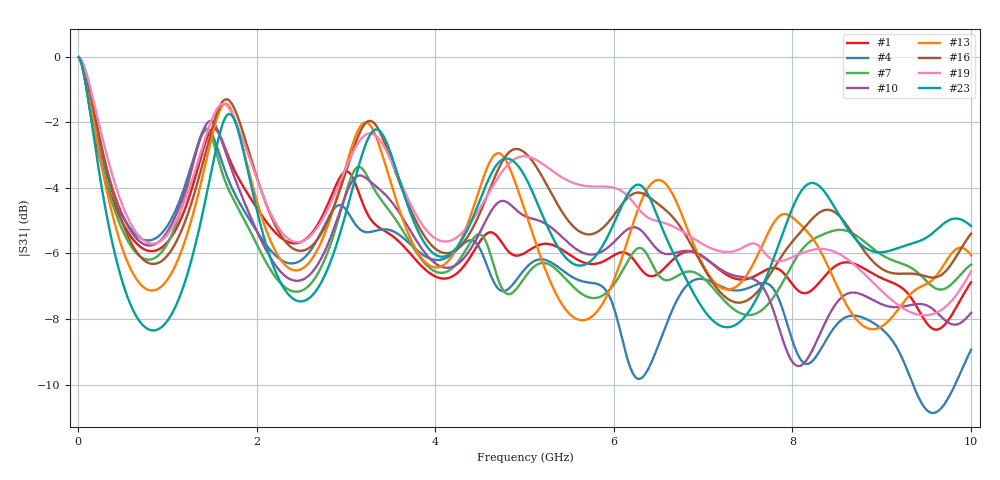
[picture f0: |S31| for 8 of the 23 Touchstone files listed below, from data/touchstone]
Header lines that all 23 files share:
! TOUCHSTONE file generated by CST MICROWAVE STUDIO
! Project name: FlexPCB_ECSS_Coverlay_Baseline.cst
! Header version: 2024
! Port assignment regex: !\s*Touchstone port\s*([0-9]+)\s*=\s*(CST MWS port|CST DES external port|CST DES block port)\s*(.+)\s* \(\"(.*)\"\)(\s*mode\s*([0-9]+))?.*
! Touchstone port assignment:
! Touchstone port 1 = CST MWS port 1 ("")
! Touchstone port 2 = CST MWS port 2 ("")
! Touchstone port 3 = CST MWS port 3 ("")
! Touchstone port 4 = CST MWS port 4 ("")
# GHz S MA R 50
Fixed: Hadh = 0.025, Hcov = 0.025, Hsub = 0.1, L = 50, Tcu = 0.035
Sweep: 10 MHz to 10 GHz
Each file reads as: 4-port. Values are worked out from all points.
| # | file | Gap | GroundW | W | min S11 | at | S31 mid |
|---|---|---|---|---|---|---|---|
| 1 | FlexPCB_ECSS_Coverlay_Baseline_5.s4p | 0.4 | 4.6 | 0.22 | -27.5 dB | 10 MHz | -6.0 dB at 5.01 GHz |
| 2 | FlexPCB_ECSS_Coverlay_Baseline_7.s4p | 0.4 | 5 | 0.26 | -26.2 dB | 10 MHz | -6.0 dB at 5.01 GHz |
| 3 | FlexPCB_ECSS_Coverlay_Baseline_8.s4p | 0.6 | 5 | 0.14 | -29.3 dB | 10 MHz | -7.4 dB at 5.01 GHz |
| 4 | FlexPCB_ECSS_Coverlay_Baseline_9.s4p | 0.6 | 5.2 | 0.16 | -28.3 dB | 10 MHz | -6.5 dB at 5.01 GHz |
| 5 | FlexPCB_ECSS_Coverlay_Baseline_10.s4p | 0.6 | 5.4 | 0.18 | -28.2 dB | 10 MHz | -6.4 dB at 5.01 GHz |
| 6 | FlexPCB_ECSS_Coverlay_Baseline_11.s4p | 0.6 | 5.6 | 0.2 | -28.4 dB | 10 MHz | -5.6 dB at 5.01 GHz |
| 7 | FlexPCB_ECSS_Coverlay_Baseline_13.s4p | 0.6 | 6 | 0.24 | -27.6 dB | 10 MHz | -6.7 dB at 5.01 GHz |
| 8 | FlexPCB_ECSS_Coverlay_Baseline_14.s4p | 0.6 | 6.2 | 0.26 | -28.0 dB | 10 MHz | -5.4 dB at 5.01 GHz |
| 9 | FlexPCB_ECSS_Coverlay_Baseline_15.s4p | 0.8 | 6.2 | 0.14 | -29.8 dB | 10 MHz | -5.9 dB at 5.01 GHz |
| 10 | FlexPCB_ECSS_Coverlay_Baseline_16.s4p | 0.8 | 6.4 | 0.16 | -28.8 dB | 10 MHz | -4.9 dB at 5.01 GHz |
| 11 | FlexPCB_ECSS_Coverlay_Baseline_17.s4p | 0.8 | 6.6 | 0.18 | -29.5 dB | 10 MHz | -4.2 dB at 5.01 GHz |
| 12 | FlexPCB_ECSS_Coverlay_Baseline_18.s4p | 0.8 | 6.8 | 0.2 | -29.2 dB | 10 MHz | -3.7 dB at 5.01 GHz |
| 13 | FlexPCB_ECSS_Coverlay_Baseline_21.s4p | 0.8 | 7.4 | 0.26 | -27.6 dB | 10 MHz | -4.7 dB at 5.01 GHz |
| 14 | FlexPCB_ECSS_Coverlay_Baseline_22.s4p | 1 | 7.4 | 0.14 | -30.7 dB | 10 MHz | -3.3 dB at 5.01 GHz |
| 15 | FlexPCB_ECSS_Coverlay_Baseline_25.s4p | 1 | 8 | 0.2 | -28.9 dB | 10 MHz | -3.1 dB at 5.01 GHz |
| 16 | FlexPCB_ECSS_Coverlay_Baseline_26.s4p | 1 | 8.2 | 0.22 | -28.9 dB | 10 MHz | -2.9 dB at 5.01 GHz |
| 17 | FlexPCB_ECSS_Coverlay_Baseline_27.s4p | 1 | 8.4 | 0.24 | -28.7 dB | 10 MHz | -3.1 dB at 5.01 GHz |
| 18 | FlexPCB_ECSS_Coverlay_Baseline_28.s4p | 1 | 8.6 | 0.26 | -27.2 dB | 10 MHz | -2.7 dB at 5.01 GHz |
| 19 | FlexPCB_ECSS_Coverlay_Baseline_29.s4p | 1.2 | 8.6 | 0.14 | -30.9 dB | 4.99 GHz | -3.0 dB at 5.01 GHz |
| 20 | FlexPCB_ECSS_Coverlay_Baseline_30.s4p | 1.2 | 8.8 | 0.16 | -27.9 dB | 10 MHz | -3.8 dB at 5.005 GHz |
| 21 | FlexPCB_ECSS_Coverlay_Baseline_31.s4p | 1.2 | 9 | 0.18 | -27.8 dB | 10 MHz | -3.0 dB at 5.01 GHz |
| 22 | FlexPCB_ECSS_Coverlay_Baseline_34.s4p | 1.2 | 9.6 | 0.24 | -26.6 dB | 10 MHz | -3.8 dB at 5.01 GHz |
| 23 | FlexPCB_ECSS_Coverlay_Baseline_35.s4p | 1.2 | 9.8 | 0.26 | -26.3 dB | 10 MHz | -3.7 dB at 5.01 GHz |
